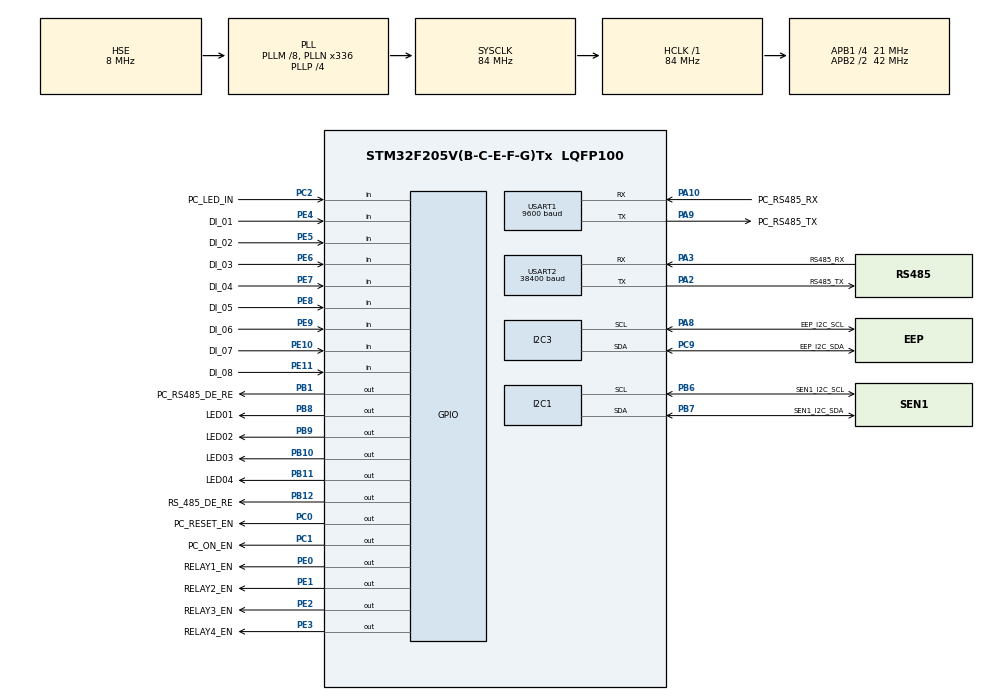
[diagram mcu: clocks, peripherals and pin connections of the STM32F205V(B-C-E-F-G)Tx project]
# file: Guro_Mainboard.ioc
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Dma.Request0=USART1_TX
Dma.USART1_TX.0.Direction=DMA_MEMORY_TO_PERIPH
Dma.USART1_TX.0.FIFOMode=DMA_FIFOMODE_DISABLE
Dma.USART1_TX.0.Instance=DMA2_Stream7
Dma.USART1_TX.0.MemDataAlignment=DMA_MDATAALIGN_BYTE
Dma.USART1_TX.0.MemInc=DMA_MINC_ENABLE
Dma.USART1_TX.0.Mode=DMA_NORMAL
Dma.USART1_TX.0.PeriphDataAlignment=DMA_PDATAALIGN_BYTE
Dma.USART1_TX.0.PeriphInc=DMA_PINC_DISABLE
Dma.USART1_TX.0.Priority=DMA_PRIORITY_MEDIUM
Mcu.Family=STM32F2
Mcu.Name=STM32F205V(B-C-E-F-G)Tx
Mcu.Package=LQFP100
NVIC.DMA2_Stream7_IRQn=true\:0\:0\:false\:false\:true\:false\:true\:true
NVIC.PriorityGroup=NVIC_PRIORITYGROUP_4
NVIC.RCC_IRQn=true\:0\:0\:false\:false\:true\:true\:false\:true
NVIC.USART1_IRQn=true\:5\:0\:true\:false\:true\:true\:true\:true
NVIC.USART2_IRQn=true\:6\:0\:true\:false\:true\:true\:true\:true
PA10.GPIO_Label=PC_RS485_RX
PA10.Mode=Asynchronous
PA10.Signal=USART1_RX
PA13.Mode=Serial_Wire
PA13.Signal=SYS_JTMS-SWDIO
PA14.Mode=Serial_Wire
PA14.Signal=SYS_JTCK-SWCLK
PA2.GPIO_Label=RS485_TX
PA2.Mode=Asynchronous
PA2.Signal=USART2_TX
PA3.GPIO_Label=RS485_RX
PA3.Mode=Asynchronous
PA3.Signal=USART2_RX
PA8.GPIO_Label=EEP_I2C_SCL
PA8.Mode=I2C
PA8.Signal=I2C3_SCL
PA9.GPIO_Label=PC_RS485_TX
PA9.Mode=Asynchronous
PA9.Signal=USART1_TX
PB1.GPIO_Label=PC_RS485_DE_RE
PB1.GPIO_Speed=GPIO_SPEED_FREQ_VERY_HIGH
PB1.Signal=GPIO_Output
PB10.GPIO_Label=LED03
PB10.Signal=GPIO_Output
PB11.GPIO_Label=LED04
PB11.Signal=GPIO_Output
PB12.GPIO_Label=RS_485_DE_RE
PB12.GPIO_Speed=GPIO_SPEED_FREQ_VERY_HIGH
PB12.Signal=GPIO_Output
PB6.GPIO_Label=SEN1_I2C_SCL
PB6.Mode=I2C
PB6.Signal=I2C1_SCL
PB7.GPIO_Label=SEN1_I2C_SDA
PB7.Mode=I2C
PB7.Signal=I2C1_SDA
PB8.GPIO_Label=LED01
PB8.Signal=GPIO_Output
PB9.GPIO_Label=LED02
PB9.Signal=GPIO_Output
PC0.GPIO_Label=PC_RESET_EN
PC0.Signal=GPIO_Output
PC1.GPIO_Label=PC_ON_EN
PC1.Signal=GPIO_Output
PC14-OSC32_IN.Mode=LSE-External-Oscillator
PC14-OSC32_IN.Signal=RCC_OSC32_IN
PC15-OSC32_OUT.Mode=LSE-External-Oscillator
PC15-OSC32_OUT.Signal=RCC_OSC32_OUT
PC2.GPIO_Label=PC_LED_IN
PC2.Signal=GPIO_Input
PC9.GPIO_Label=EEP_I2C_SDA
PC9.Mode=I2C
PC9.Signal=I2C3_SDA
PE0.GPIO_Label=RELAY1_EN
PE0.Signal=GPIO_Output
PE1.GPIO_Label=RELAY2_EN
PE1.Signal=GPIO_Output
PE10.GPIO_Label=DI_07
PE10.Signal=GPIO_Input
PE11.GPIO_Label=DI_08
PE11.Signal=GPIO_Input
PE2.GPIO_Label=RELAY3_EN
PE2.Signal=GPIO_Output
PE3.GPIO_Label=RELAY4_EN
PE3.Signal=GPIO_Output
PE4.GPIO_Label=DI_01
PE4.Signal=GPIO_Input
PE5.GPIO_Label=DI_02
PE5.Signal=GPIO_Input
PE6.GPIO_Label=DI_03
PE6.Signal=GPIO_Input
PE7.GPIO_Label=DI_04
PE7.Signal=GPIO_Input
PE8.GPIO_Label=DI_05
PE8.Signal=GPIO_Input
PE9.GPIO_Label=DI_06
PE9.Signal=GPIO_Input
PH0-OSC_IN.Mode=HSE-External-Oscillator
PH0-OSC_IN.Signal=RCC_OSC_IN
PH1-OSC_OUT.Mode=HSE-External-Oscillator
PH1-OSC_OUT.Signal=RCC_OSC_OUT
ProjectManager.HeapSize=0x200
ProjectManager.StackSize=0x400
ProjectManager.TargetToolchain=STM32CubeIDE
RCC.48MHZClocksFreq_Value=84000000
RCC.AHBFreq_Value=84000000
RCC.APB1CLKDivider=RCC_HCLK_DIV4
RCC.APB1Freq_Value=21000000
RCC.APB1TimFreq_Value=42000000
RCC.APB2CLKDivider=RCC_HCLK_DIV2
RCC.APB2Freq_Value=42000000
RCC.APB2TimFreq_Value=84000000
RCC.CortexFreq_Value=84000000
RCC.HCLKFreq_Value=84000000
RCC.HSE_VALUE=8000000
RCC.HSI_VALUE=16000000
RCC.PLLM=8
RCC.PLLN=336
RCC.PLLP=RCC_PLLP_DIV4
RCC.PLLSourceVirtual=RCC_PLLSOURCE_HSE
RCC.RCC_RTC_Clock_Source=RCC_RTCCLKSOURCE_LSE
RCC.RCC_RTC_Clock_SourceVirtual=RCC_RTCCLKSOURCE_LSE
RCC.SYSCLKFreq_VALUE=84000000
RCC.SYSCLKSource=RCC_SYSCLKSOURCE_PLLCLK
RCC.VCOOutputFreq_Value=336000000
USART1.BaudRate=9600
USART1.VirtualMode=VM_ASYNC
USART2.BaudRate=38400
USART2.VirtualMode=VM_ASYNC
VP_RTC_VS_RTC_Activate.Mode=RTC_Enabled
VP_WWDG_VS_WWDG.Mode=WWDG_Activate
WWDG.Counter=127
WWDG.Prescaler=WWDG_PRESCALER_8
WWDG.Window=120
board=custom

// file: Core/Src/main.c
/* USER CODE BEGIN Header */
/**
  ******************************************************************************
  * @file           : main.c
  * @brief          : Main program body
  ******************************************************************************
  * @attention
  *
  * Copyright (c) 2026 STMicroelectronics.
  * All rights reserved.
  *
  * This software is licensed under terms that can be found in the LICENSE file
  * in the root directory of this software component.
  * If no LICENSE file comes with this software, it is provided AS-IS.
  *
  ******************************************************************************
  */
/* USER CODE END Header */
#include "main.h"

/* USER CODE BEGIN Includes */
#include "app_config.h"
#include "app_scheduler.h"
#include "aggregator.h"
#include "aggregated_status.h"
#include "upstream_pc_protocol.h"
#include "upstream_slave_uart1.h"
#include "upstream_slave_h2tech.h"
#include "modbus_master.h"
#include "gateway_actions.h"
#include "led_status.h"
#include "pc_test_aa_stream.h"
#include "reset_reason.h"
#include "wwdg_service.h"
#include "system_config.h"
#include "system_sync.h"
#include "board_rtc.h"
#include "main_auto_link.h"
#include "output_state_nvm.h"
#include "eeprom_24c02.h"
#include <stdio.h>
#include <string.h>
/* USER CODE END Includes */

/* USER CODE BEGIN PD */

/* EEPROM 단순 read/write 테스트 주소.
 * 레이아웃: 0x00~0x3F SystemConfig, 0x40~0x7F output_state_nvm A/B → 0xA0 이후 안전 */
#define EEPROM_BOOT_TEST_ADDR  0xA0u
#define EEPROM_BOOT_TEST_VAL   100u   /* 0x64 */

/* USER CODE END PD */

I2C_HandleTypeDef hi2c1;
I2C_HandleTypeDef hi2c3;

RTC_HandleTypeDef hrtc;

UART_HandleTypeDef huart1;
UART_HandleTypeDef huart2;
DMA_HandleTypeDef hdma_usart1_tx;

WWDG_HandleTypeDef hwwdg;

/* USER CODE BEGIN PV */
static aggregated_status_t aggregated_status;
/* USER CODE END PV */

void SystemClock_Config(void);
static void MX_GPIO_Init(void);
static void MX_DMA_Init(void);
static void MX_WWDG_Init(void);
static void MX_I2C1_Init(void);
static void MX_I2C3_Init(void);
static void MX_USART1_UART_Init(void);
static void MX_USART2_UART_Init(void);
static void MX_RTC_Init(void);

/* USER CODE BEGIN 0 */
/**
 * @brief EEPROM 단순 read/write 부팅 테스트.
 *        주소 0xA0에 100(0x64)을 쓰고 즉시 읽어 일치 여부를 UART1로 출력.
 *        output_state_nvm/SystemConfig 영역(0x00~0x7F)과 겹치지 않음.
 *        이 함수는 부팅 1회만 호출하고 필요 없으면 호출부를 주석 처리하면 됩니다.
 */
__attribute__((unused)) static void Eeprom_RunBootTest(void)
{
    extern UART_HandleTypeDef huart1;

    uint8_t w = EEPROM_BOOT_TEST_VAL;
    uint8_t r = 0u;
    int wr = EEPROM_Write(EEPROM_BOOT_TEST_ADDR, &w, 1u);
    int rd = EEPROM_Read (EEPROM_BOOT_TEST_ADDR, &r, 1u);

    char buf[96];
    int n;

    n = snprintf(buf, sizeof(buf),
                 "[EEPROM-TEST] WR ret=%d val=%u\r\n", wr, (unsigned)w);
    if (n > 0) (void)HAL_UART_Transmit(&huart1, (uint8_t *)buf, (uint16_t)n, 100);

    n = snprintf(buf, sizeof(buf),
                 "[EEPROM-TEST] RD ret=%d val=%u\r\n", rd, (unsigned)r);
    if (n > 0) (void)HAL_UART_Transmit(&huart1, (uint8_t *)buf, (uint16_t)n, 100);

    int pass = (wr == 0) && (rd == 0) && (r == EEPROM_BOOT_TEST_VAL);
    n = snprintf(buf, sizeof(buf),
                 "[EEPROM-TEST] addr=0x%02X %s\r\n",
                 (unsigned)EEPROM_BOOT_TEST_ADDR, pass ? "PASS" : "FAIL");
    if (n > 0) (void)HAL_UART_Transmit(&huart1, (uint8_t *)buf, (uint16_t)n, 100);
}
/* USER CODE END 0 */

int main(void)
{

  /* MCU Configuration--------------------------------------------------------*/

  /* Reset of all peripherals, Initializes the Flash interface and the Systick. */
  HAL_Init();

  /* USER CODE BEGIN Init */
  ResetReason_CaptureAndClear();

  /* USER CODE END Init */

  /* Configure the system clock */
  SystemClock_Config();

  /* Initialize all configured peripherals */
  MX_GPIO_Init();
  MX_DMA_Init();
  MX_WWDG_Init();
  MX_I2C1_Init();
  MX_I2C3_Init();
  MX_USART1_UART_Init();
  MX_USART2_UART_Init();
  MX_RTC_Init();
  /* USER CODE BEGIN 2 */
  BoardRtc_Init();
  /* EEPROM 설정 로드: 실패 또는 검증 실패 시 기본값 저장 후 적용 */
  {
    system_config_t cfg;
    if (SystemConfig_Load(&cfg) != 0 || SystemConfig_Validate(&cfg) != 0) {
      SystemConfig_SetDefaults(&cfg);
      SystemConfig_Save(&cfg);
    }
    /* 출력 상태 로드(HPSB/LPSB 복원용). Mainboard RELAY1~4는 EEPROM으로 GPIO 복원하지 않음(항상 0 시작). */
    {
      output_state_nvm_t out_state;
      (void)OutputStateNvm_Load(&out_state);
    }
#if USE_PC_TEST_UART1_SLAVE
    /* PC 테스트 툴은 9600 고정. EEPROM baud와 무관하게 UART1=9600으로 통신 보장. */
    huart1.Init.BaudRate = 9600;
#else
    huart1.Init.BaudRate = (uint32_t)cfg.baudrate;
#endif
    (void)HAL_UART_Init(&huart1);
#if SYSTEM_CONFIG_BOOT_LOG
    SystemConfig_LogToUart((void *)&huart1);
#endif
    UpstreamSlave_InitMainboardSlavePending();
  }
  /* 정상 동작 모드: 스케줄러/통신/집계/LED 상태 및 WWDG 서비스 초기화. */
  WwdgService_Init(&hwwdg);
  AppScheduler_Init();
  ModbusMaster_Init();
  /* 부팅 즉시 모든 하위보드 1회 poll 요청: PC 미연결 상태에서도 comm_ok 확정 후 NVM 복원이 동작하도록 함.
   * poll 성공 → comm_ok=1 → OutputStateNvm_RestoreSubBoardsIfNeeded가 복원 실행. */
  ModbusMaster_RequestOnDemandPoll((uint16_t)SLAVE_ID_HPSB  | (uint16_t)SLAVE_ID_LPSB1 |
                                   (uint16_t)SLAVE_ID_LPSB2 | (uint16_t)SLAVE_ID_LPSB3);
  AggregatedStatus_Clear(&aggregated_status);
  SystemSync_Init();
#if !MB_UART2_ASCII_BRIDGE_TEST
#if !USE_PC_TEST_UART1_SLAVE
  /* NOTE: UpstreamPC uses USART2 ReceiveToIdle_IT.
   * When PC_TEST_UART1_SLAVE is enabled, USART2 is reserved for downstream Modbus Master (sub RS485).
   * Running both on USART2 causes RX competition and truncated FC04 responses. */
  UpstreamPC_Init();
#endif
#endif
#if USE_PC_TEST_UART1_SLAVE && !ENABLE_PC_TEST_AA_STREAM
  UpstreamSlaveUart1_Init();
#endif
  MainAutoLink_Init();
  {
    const output_state_nvm_t *out_state = OutputStateNvm_Get();
    if (out_state != NULL) {
      OutputStateNvm_ApplyMainboardRelays(out_state);
    }
  }
  LED_Status_Init();
#if ENABLE_PC_TEST_AA_STREAM
  PcTestAA_Init();
#endif
#if USE_PC_TEST_UART1_SLAVE && !ENABLE_PC_TEST_AA_STREAM
  /* 부팅 시 LED2 한 번 펄스 ... */
  LED_Status_OnUart1RxEvent();
  LED_Status_OnUart1SlaveTx();
#endif
  /* USER CODE END 2 */

  /* Infinite loop */
  while (1)
  {

    /* USER CODE BEGIN 3 */
#if 0  /* PB12(DE) 스코프 테스트: 1초마다 PB12+LED01 토글. 확인 후 0으로 끄기 */
    {
      static uint32_t s_pb12_toggle_tick;
      uint32_t now = HAL_GetTick();
      if ((now - s_pb12_toggle_tick) >= 1000u) {
        s_pb12_toggle_tick = now;
        HAL_GPIO_TogglePin(RS_485_DE_RE_GPIO_Port, RS_485_DE_RE_Pin);
        HAL_GPIO_TogglePin(LED01_GPIO_Port, LED01_Pin);
      }
    }
#endif

#if UART2_RS485_SUB_TXRX_TEST_ENABLE
    /* USART2(RS485 하단) TX 생존 테스트: 1초마다 송신 */
    {
      static uint32_t s_rs485_tx_tick = 0;
      uint32_t now = HAL_GetTick();
      if (s_rs485_tx_tick == 0u) s_rs485_tx_tick = now;
      if ((now - s_rs485_tx_tick) >= 1000u) {
        s_rs485_tx_tick = now;
        rs485_test_tx();
      }
    }
#endif

#if MB_UART1_TX_OK_STREAM_TEST
    /* USART1(상위 RS485, PC 링크) 테스트: 1초마다 "MB_OK\r\n" 송신 */
    {
      uint32_t now = HAL_GetTick();
      if (s_mb_ok_last_tick == 0u) s_mb_ok_last_tick = now;
      if ((now - s_mb_ok_last_tick) >= 1000u) {
        s_mb_ok_last_tick = now;
        mb_uart1_send_mb_ok();
      }
    }
#endif

    /* 1ms 주기 기반 스케줄러/업무 처리 */
    LED_Status_Tick_1ms();
    MainAutoLink_Tick();
    AppScheduler_Update();

#if ENABLE_PC_TEST_AA_STREAM
    PcTestAA_Tick(&aggregated_status);
#else
#if MB_UART2_ASCII_BRIDGE_TEST
    ascii_bridge_tick();
#else
#if !USE_PC_TEST_UART1_SLAVE
    if (AppScheduler_IsDue(TASK_UPSTREAM_POLL))
      UpstreamPC_Poll(&aggregated_status);
#endif
#if USE_PC_TEST_UART1_SLAVE || MODBUS_MASTER_POLL_ENABLE
    if (AppScheduler_IsDue(TASK_DOWNSTREAM_MODBUS)) {
#if USE_PC_TEST_UART1_SLAVE
      UpstreamSlaveUart1_Poll(&aggregated_status);
#endif
#if MODBUS_MASTER_POLL_ENABLE
      ModbusMaster_Poll();
      OutputStateNvm_RestoreSubBoardsIfNeeded();
      OutputStateNvm_UpdateRestoreOkFromFeedback();
      OutputStateNvm_KeepAliveIfNeeded();
      OutputStateNvm_FlushIfDirty();
/* [STATE_MB] 로그는 MODBUS_MASTER_DEBUG_LOG=1 시에만 출력.
       * 기본 0 상태에서 이 printf가 UART1(PC Modbus 라인)에 섞이면
       * 모든 FC04 응답 프레임이 깨져 No Response / Unable to decode response 발생. */
#if MODBUS_MASTER_DEBUG_LOG
      {
        static uint32_t s_state_mb_last_tick;
        uint32_t tnow = HAL_GetTick();
        if (s_state_mb_last_tick == 0u)
          s_state_mb_last_tick = tnow;
        if ((uint32_t)(tnow - s_state_mb_last_tick) >= 1000u) {
          s_state_mb_last_tick = tnow;
          (void)printf("[STATE_MB] relay1=%u relay2=%u relay3=%u (HPSB)\r\n",
                       ModbusTable_GetCoil(SLAVE_ID_HPSB, 0) ? 1u : 0u,
                       ModbusTable_GetCoil(SLAVE_ID_HPSB, 1) ? 1u : 0u,
                       ModbusTable_GetCoil(SLAVE_ID_HPSB, 2) ? 1u : 0u);
          (void)printf("[STATE_MB] ssr1=%u ssr2=%u ssr3=%u (LPSB)\r\n",
                       ModbusTable_GetCoil(SLAVE_ID_LPSB1, 0) ? 1u : 0u,
                       ModbusTable_GetCoil(SLAVE_ID_LPSB1, 1) ? 1u : 0u,
                       ModbusTable_GetCoil(SLAVE_ID_LPSB1, 2) ? 1u : 0u);
        }
      }
#endif
#endif
    }
#endif
#endif
#endif
    UpstreamSlave_PcWatchdogTick();
    if (AppScheduler_IsDue(TASK_AGGREGATE_UPDATE))
      SystemSync_Update(&aggregated_status, HAL_GetTick());
    Gateway_Action_Update();
#if !MB_UART2_ASCII_BRIDGE_TEST
#if !USE_PC_TEST_UART1_SLAVE
    if (AppScheduler_IsDue(TASK_UPSTREAM_SEND_STATUS))
      UpstreamPC_SendStatus(&aggregated_status);
#endif
#endif

    /* 진단 단계(윈도우 위반 배제):
     * - 비즈니스 루프는 유지
     * - 리프레시는 20ms마다 1회만 수행(5.5ms~49ms 윈도우 내) */
    static uint32_t last_wwdg_ms = 0;
    uint32_t now_ms = HAL_GetTick();
    if ((uint32_t)(now_ms - last_wwdg_ms) >= 20u) {
      (void)HAL_WWDG_Refresh(&hwwdg);
      last_wwdg_ms = now_ms;
    }
  }
  /* USER CODE END 3 */
}

void SystemClock_Config(void)
{
  RCC_OscInitTypeDef RCC_OscInitStruct = {0};
  RCC_ClkInitTypeDef RCC_ClkInitStruct = {0};
  RCC_PeriphCLKInitTypeDef PeriphClkInitStruct = {0};

  /** Initializes the RCC Oscillators according to the specified parameters
  * in the RCC_OscInitTypeDef structure.
  */
  RCC_OscInitStruct.OscillatorType = RCC_OSCILLATORTYPE_HSE|RCC_OSCILLATORTYPE_LSE;
  RCC_OscInitStruct.HSEState = RCC_HSE_ON;
  RCC_OscInitStruct.LSEState = RCC_LSE_ON;
  RCC_OscInitStruct.PLL.PLLState = RCC_PLL_ON;
  RCC_OscInitStruct.PLL.PLLSource = RCC_PLLSOURCE_HSE;
  RCC_OscInitStruct.PLL.PLLM = 8;
  RCC_OscInitStruct.PLL.PLLN = 336;
  RCC_OscInitStruct.PLL.PLLP = RCC_PLLP_DIV4;
  RCC_OscInitStruct.PLL.PLLQ = 4;
  if (HAL_RCC_OscConfig(&RCC_OscInitStruct) != HAL_OK)
  {
    Error_Handler();
  }

  /** Initializes the CPU, AHB and APB buses clocks
  */
  RCC_ClkInitStruct.ClockType = RCC_CLOCKTYPE_HCLK|RCC_CLOCKTYPE_SYSCLK
                              |RCC_CLOCKTYPE_PCLK1|RCC_CLOCKTYPE_PCLK2;
  RCC_ClkInitStruct.SYSCLKSource = RCC_SYSCLKSOURCE_PLLCLK;
  RCC_ClkInitStruct.AHBCLKDivider = RCC_SYSCLK_DIV1;
  RCC_ClkInitStruct.APB1CLKDivider = RCC_HCLK_DIV4;
  RCC_ClkInitStruct.APB2CLKDivider = RCC_HCLK_DIV2;

  if (HAL_RCC_ClockConfig(&RCC_ClkInitStruct, FLASH_LATENCY_2) != HAL_OK)
  {
    Error_Handler();
  }
  PeriphClkInitStruct.PeriphClockSelection = RCC_PERIPHCLK_RTC;
  PeriphClkInitStruct.RTCClockSelection = RCC_RTCCLKSOURCE_LSE;
  if (HAL_RCCEx_PeriphCLKConfig(&PeriphClkInitStruct) != HAL_OK)
  {
    Error_Handler();
  }
}

static void MX_I2C1_Init(void)
{

  hi2c1.Instance = I2C1;
  hi2c1.Init.ClockSpeed = 100000;
  hi2c1.Init.DutyCycle = I2C_DUTYCYCLE_2;
  hi2c1.Init.OwnAddress1 = 0;
  hi2c1.Init.AddressingMode = I2C_ADDRESSINGMODE_7BIT;
  hi2c1.Init.DualAddressMode = I2C_DUALADDRESS_DISABLE;
  hi2c1.Init.OwnAddress2 = 0;
  hi2c1.Init.GeneralCallMode = I2C_GENERALCALL_DISABLE;
  hi2c1.Init.NoStretchMode = I2C_NOSTRETCH_DISABLE;
  if (HAL_I2C_Init(&hi2c1) != HAL_OK)
  {
    Error_Handler();
  }

}

static void MX_I2C3_Init(void)
{

  hi2c3.Instance = I2C3;
  hi2c3.Init.ClockSpeed = 100000;
  hi2c3.Init.DutyCycle = I2C_DUTYCYCLE_2;
  hi2c3.Init.OwnAddress1 = 0;
  hi2c3.Init.AddressingMode = I2C_ADDRESSINGMODE_7BIT;
  hi2c3.Init.DualAddressMode = I2C_DUALADDRESS_DISABLE;
  hi2c3.Init.OwnAddress2 = 0;
  hi2c3.Init.GeneralCallMode = I2C_GENERALCALL_DISABLE;
  hi2c3.Init.NoStretchMode = I2C_NOSTRETCH_DISABLE;
  if (HAL_I2C_Init(&hi2c3) != HAL_OK)
  {
    Error_Handler();
  }

}

static void MX_RTC_Init(void)
{

  /** Initialize RTC Only
  */
  hrtc.Instance = RTC;
  hrtc.Init.HourFormat = RTC_HOURFORMAT_24;
  hrtc.Init.AsynchPrediv = 127;
  hrtc.Init.SynchPrediv = 255;
  hrtc.Init.OutPut = RTC_OUTPUT_DISABLE;
  hrtc.Init.OutPutPolarity = RTC_OUTPUT_POLARITY_HIGH;
  hrtc.Init.OutPutType = RTC_OUTPUT_TYPE_OPENDRAIN;
  if (HAL_RTC_Init(&hrtc) != HAL_OK)
  {
    Error_Handler();
  }

}

static void MX_USART1_UART_Init(void)
{

  huart1.Instance = USART1;
  huart1.Init.BaudRate = 9600;
  huart1.Init.WordLength = UART_WORDLENGTH_8B;
  huart1.Init.StopBits = UART_STOPBITS_1;
  huart1.Init.Parity = UART_PARITY_NONE;
  huart1.Init.Mode = UART_MODE_TX_RX;
  huart1.Init.HwFlowCtl = UART_HWCONTROL_NONE;
  huart1.Init.OverSampling = UART_OVERSAMPLING_16;
  if (HAL_UART_Init(&huart1) != HAL_OK)
  {
    Error_Handler();
  }

}

static void MX_USART2_UART_Init(void)
{

  huart2.Instance = USART2;
  huart2.Init.BaudRate = 38400;
  huart2.Init.WordLength = UART_WORDLENGTH_8B;
  huart2.Init.StopBits = UART_STOPBITS_1;
  huart2.Init.Parity = UART_PARITY_NONE;
  huart2.Init.Mode = UART_MODE_TX_RX;
  huart2.Init.HwFlowCtl = UART_HWCONTROL_NONE;
  huart2.Init.OverSampling = UART_OVERSAMPLING_16;
  if (HAL_UART_Init(&huart2) != HAL_OK)
  {
    Error_Handler();
  }

}

static void MX_WWDG_Init(void)
{

  hwwdg.Instance = WWDG;
  hwwdg.Init.Prescaler = WWDG_PRESCALER_8;
  hwwdg.Init.Window = 120;
  hwwdg.Init.Counter = 127;
  hwwdg.Init.EWIMode = WWDG_EWI_DISABLE;
  if (HAL_WWDG_Init(&hwwdg) != HAL_OK)
  {
    Error_Handler();
  }

}

static void MX_DMA_Init(void)
{

  /* DMA controller clock enable */
  __HAL_RCC_DMA2_CLK_ENABLE();

  /* DMA interrupt init */
  /* DMA2_Stream7_IRQn interrupt configuration */
  HAL_NVIC_SetPriority(DMA2_Stream7_IRQn, 0, 0);
  HAL_NVIC_EnableIRQ(DMA2_Stream7_IRQn);

}

static void MX_GPIO_Init(void)
{
  GPIO_InitTypeDef GPIO_InitStruct = {0};

  /* GPIO Ports Clock Enable */
  __HAL_RCC_GPIOE_CLK_ENABLE();
  __HAL_RCC_GPIOC_CLK_ENABLE();
  __HAL_RCC_GPIOH_CLK_ENABLE();
  __HAL_RCC_GPIOA_CLK_ENABLE();
  __HAL_RCC_GPIOB_CLK_ENABLE();

  /*Configure GPIO pin Output Level */
  HAL_GPIO_WritePin(GPIOE, RELAY3_EN_Pin|RELAY4_EN_Pin|RELAY1_EN_Pin|RELAY2_EN_Pin, GPIO_PIN_RESET);

  /*Configure GPIO pin Output Level */
  HAL_GPIO_WritePin(GPIOC, PC_RESET_EN_Pin|PC_ON_EN_Pin, GPIO_PIN_RESET);

  /*Configure GPIO pin Output Level */
  HAL_GPIO_WritePin(GPIOB, PC_RS485_DE_RE_Pin|LED03_Pin|LED04_Pin|RS_485_DE_RE_Pin
                          |LED01_Pin|LED02_Pin, GPIO_PIN_RESET);

  /*Configure GPIO pins : RELAY3_EN_Pin RELAY4_EN_Pin RELAY1_EN_Pin RELAY2_EN_Pin */
  GPIO_InitStruct.Pin = RELAY3_EN_Pin|RELAY4_EN_Pin|RELAY1_EN_Pin|RELAY2_EN_Pin;
  GPIO_InitStruct.Mode = GPIO_MODE_OUTPUT_PP;
  GPIO_InitStruct.Pull = GPIO_NOPULL;
  GPIO_InitStruct.Speed = GPIO_SPEED_FREQ_LOW;
  HAL_GPIO_Init(GPIOE, &GPIO_InitStruct);

  /*Configure GPIO pins : DI_01_Pin DI_02_Pin DI_03_Pin DI_04_Pin
                           DI_05_Pin DI_06_Pin DI_07_Pin DI_08_Pin */
  GPIO_InitStruct.Pin = DI_01_Pin|DI_02_Pin|DI_03_Pin|DI_04_Pin
                          |DI_05_Pin|DI_06_Pin|DI_07_Pin|DI_08_Pin;
  GPIO_InitStruct.Mode = GPIO_MODE_INPUT;
  GPIO_InitStruct.Pull = GPIO_NOPULL;
  HAL_GPIO_Init(GPIOE, &GPIO_InitStruct);

  /*Configure GPIO pins : PC_RESET_EN_Pin PC_ON_EN_Pin */
  GPIO_InitStruct.Pin = PC_RESET_EN_Pin|PC_ON_EN_Pin;
  GPIO_InitStruct.Mode = GPIO_MODE_OUTPUT_PP;
  GPIO_InitStruct.Pull = GPIO_NOPULL;
  GPIO_InitStruct.Speed = GPIO_SPEED_FREQ_LOW;
  HAL_GPIO_Init(GPIOC, &GPIO_InitStruct);

  /*Configure GPIO pin : PC_LED_IN_Pin */
  GPIO_InitStruct.Pin = PC_LED_IN_Pin;
  GPIO_InitStruct.Mode = GPIO_MODE_INPUT;
  GPIO_InitStruct.Pull = GPIO_NOPULL;
  HAL_GPIO_Init(PC_LED_IN_GPIO_Port, &GPIO_InitStruct);

  /*Configure GPIO pins : PC_RS485_DE_RE_Pin RS_485_DE_RE_Pin */
  GPIO_InitStruct.Pin = PC_RS485_DE_RE_Pin|RS_485_DE_RE_Pin;
  GPIO_InitStruct.Mode = GPIO_MODE_OUTPUT_PP;
  GPIO_InitStruct.Pull = GPIO_NOPULL;
  GPIO_InitStruct.Speed = GPIO_SPEED_FREQ_VERY_HIGH;
  HAL_GPIO_Init(GPIOB, &GPIO_InitStruct);

  /*Configure GPIO pins : LED03_Pin LED04_Pin LED01_Pin LED02_Pin */
  GPIO_InitStruct.Pin = LED03_Pin|LED04_Pin|LED01_Pin|LED02_Pin;
  GPIO_InitStruct.Mode = GPIO_MODE_OUTPUT_PP;
  GPIO_InitStruct.Pull = GPIO_NOPULL;
  GPIO_InitStruct.Speed = GPIO_SPEED_FREQ_LOW;
  HAL_GPIO_Init(GPIOB, &GPIO_InitStruct);

}

void Error_Handler(void)
{
  __disable_irq();
  while (1)
  {
  }
}
